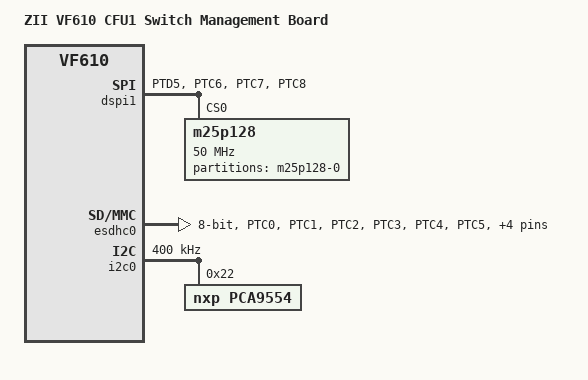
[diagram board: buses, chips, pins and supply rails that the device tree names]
/*
 * Copyright (C) 2015, 2016 Zodiac Inflight Innovations
 *
 * Based on an original 'vf610-twr.dts' which is Copyright 2015,
 * Freescale Semiconductor, Inc.
 *
 * This file is dual-licensed: you can use it either under the terms
 * of the GPL or the X11 license, at your option. Note that this dual
 * licensing only applies to this file, and not this project as a
 * whole.
 *
 *  a) This file is free software; you can redistribute it and/or
 *     modify it under the terms of the GNU General Public License
 *     version 2 as published by the Free Software Foundation.
 *
 *     This file is distributed in the hope that it will be useful
 *     but WITHOUT ANY WARRANTY; without even the implied warranty of
 *     MERCHANTABILITY or FITNESS FOR A PARTICULAR PURPOSE.  See the
 *     GNU General Public License for more details.
 *
 * Or, alternatively
 *
 *  b) Permission is hereby granted, free of charge, to any person
 *     obtaining a copy of this software and associated documentation
 *     files (the "Software"), to deal in the Software without
 *     restriction, including without limitation the rights to use
 *     copy, modify, merge, publish, distribute, sublicense, and/or
 *     sell copies of the Software, and to permit persons to whom the
 *     Software is furnished to do so, subject to the following
 *     conditions:
 *
 *     The above copyright notice and this permission notice shall be
 *     included in all copies or substantial portions of the Software.
 *
 *     THE SOFTWARE IS PROVIDED , WITHOUT WARRANTY OF ANY KIND
 *     EXPRESS OR IMPLIED, INCLUDING BUT NOT LIMITED TO THE WARRANTIES
 *     OF MERCHANTABILITY, FITNESS FOR A PARTICULAR PURPOSE AND
 *     NONINFRINGEMENT. IN NO EVENT SHALL THE AUTHORS OR COPYRIGHT
 *     HOLDERS BE LIABLE FOR ANY CLAIM, DAMAGES OR OTHER LIABILITY
 *     WHETHER IN AN ACTION OF CONTRACT, TORT OR OTHERWISE, ARISING
 *     FROM, OUT OF OR IN CONNECTION WITH THE SOFTWARE OR THE USE OR
 *     OTHER DEALINGS IN THE SOFTWARE.
 */

/dts-v1/;

#include <arm/vf610-zii-dev.dtsi>

#include "vf610-zii-dev.dtsi"

/ {
	model = "ZII VF610 CFU1 Switch Management Board";
	compatible = "zii,vf610cfu1-a", "zii,vf610dev", "fsl,vf610";

	aliases {
		/delete-property/ serial1;
		/delete-property/ serial2;
	};

	gpio-leds {
                debug {
                        gpios = <&gpio2 18 GPIO_ACTIVE_HIGH>;
		};

		fail {
			label = "zii_fail";
			gpios = <&gpio3 12 GPIO_ACTIVE_LOW>;
			default-state = "off";
			max-brightness = <1>;
		};

		status {
			label = "zii_status";
			gpios = <&gpio3 13 GPIO_ACTIVE_HIGH>;
			default-state = "off";
			max-brightness = <1>;
		};

		status_a {
			label = "zii_status_a";
			gpios = <&gpio3 14 GPIO_ACTIVE_HIGH>;
			default-state = "off";
			max-brightness = <1>;
		};

		status_b {
			label = "zii_status_b";
			gpios = <&gpio3 15 GPIO_ACTIVE_HIGH>;
			default-state = "on";
			max-brightness = <1>;
		};
	};
};

&dspi1 {
	bus-num = <1>;
	pinctrl-names = "default";
	pinctrl-0 = <&pinctrl_dspi1>;
	status = "okay";

	m25p128@0 {
		#address-cells = <1>;
		#size-cells = <1>;
		compatible = "m25p128", "jedec,spi-nor";
		reg = <0>;
		spi-max-frequency = <50000000>;

		partition@0 {
			label = "m25p128-0";
			reg = <0x0 0x01000000>;
		};
	};
};

&esdhc0 {
	pinctrl-names = "default";
	pinctrl-0 = <&pinctrl_esdhc0>;
	bus-width = <8>;
	status = "okay";
};

&fec0 {
	status = "disabled";
};

&i2c0 {
	clock-frequency = <400000>;

	pca9554@22 {
		compatible = "nxp,pca9554";
		reg = <0x22>;
		gpio-controller;
		#gpio-cells = <2>;
	};
};

/delete-node/ &i2c1;
/delete-node/ &i2c2;
/delete-node/ &uart1;
/delete-node/ &uart2;

&iomuxc {
	pinctrl-names = "default";
	pinctrl-0 = <&pinctrl_hog>;

	pinctrl_hog: hoggrp {
		fsl,pins = <
			VF610_PAD_PTE2__GPIO_107	0x31c2 /* SOC_SW_RSTn */
			VF610_PAD_PTB28__GPIO_98	0x31c1 /* E6352_INTn */

			/* PTE27 is wired to signal SD on part CONN
			* SFF-F4 via net FIM_DS. An active high
			* on this indicates a received optical
			* signal

			* SPEED=0b11 HIGH, SRE=0b0, ODE=0b0, HYS=0b0
			* DSE=0b001 150Ohm, PUS=0b10 100k UP
			* PKE=0b0, PUE=0b0, OBE=0b0, IBE=0b1
			*/
			VF610_PAD_PTE27__GPIO_132       0x3061

			/*
			* PTE13 is wired to signal T_DIS on part CONN
			* SFF-F4 via net FIM_TDIS. Setting this high
			* will disable optical output from the SFF-F4

			* SPEED=0b11 HIGH, SRE=0b0, ODE=0b0, HYS=0b0
			* DSE=0b001 150Ohm, PUS=0b00 100k DOWN
			* PKE=0b0, PUE=0b0, OBE=0b1, IBE=0b1
			* TODO: probably want IBE=0b0
			*/
			VF610_PAD_PTE13__GPIO_118       0x3043
		>;
	};

	pinctrl_dspi1: dspi1grp {
		fsl,pins = <
			VF610_PAD_PTD5__DSPI1_CS0	0x1182
			VF610_PAD_PTC6__DSPI1_SIN	0x1181
			VF610_PAD_PTC7__DSPI1_SOUT	0x1182
			VF610_PAD_PTC8__DSPI1_SCK	0x1182
		>;
	};

	pinctrl_esdhc0: esdhc0grp {
		fsl,pins = <
			VF610_PAD_PTC0__ESDHC0_CLK	0x31ef
			VF610_PAD_PTC1__ESDHC0_CMD	0x31ef
			VF610_PAD_PTC2__ESDHC0_DAT0	0x31ef
			VF610_PAD_PTC3__ESDHC0_DAT1	0x31ef
			VF610_PAD_PTC4__ESDHC0_DAT2	0x31ef
			VF610_PAD_PTC5__ESDHC0_DAT3	0x31ef
			VF610_PAD_PTD23__ESDHC0_DAT4	0x31ef
			VF610_PAD_PTD22__ESDHC0_DAT5	0x31ef
			VF610_PAD_PTD21__ESDHC0_DAT6	0x31ef
			VF610_PAD_PTD20__ESDHC0_DAT7	0x31ef
		>;
	};

	pinctrl_leds_debug: pinctrl-leds-debug {
		fsl,pins = <
			VF610_PAD_PTD3__GPIO_82			0x31c2
			VF610_PAD_PTE3__GPIO_108		0x31c2
			VF610_PAD_PTE4__GPIO_109		0x31c2
			VF610_PAD_PTE5__GPIO_110		0x31c2
			VF610_PAD_PTE6__GPIO_111		0x31c2
		>;
	};
};
